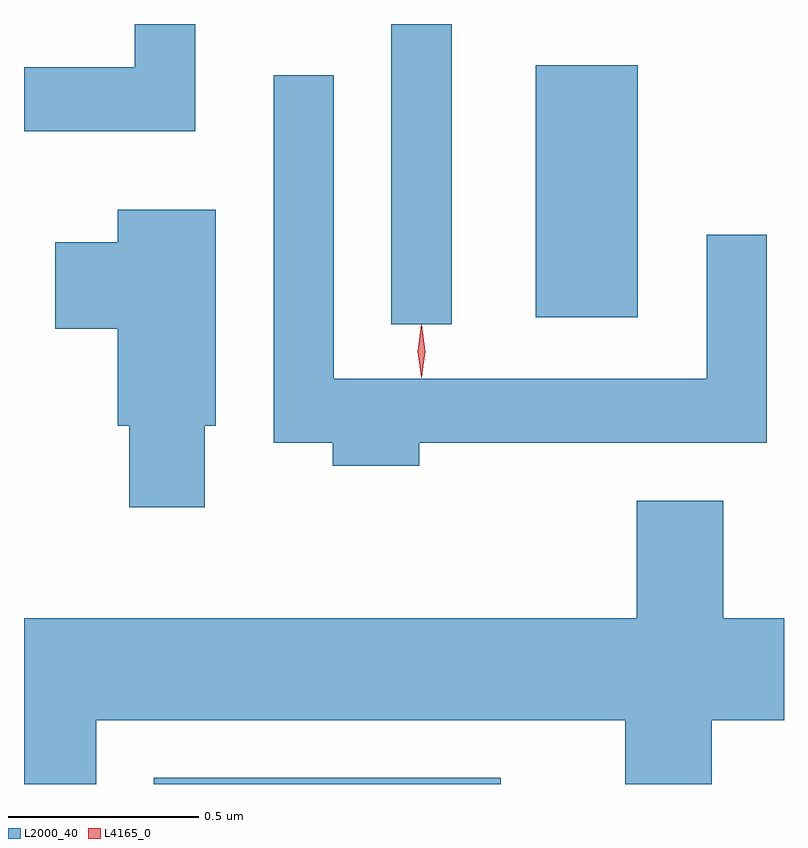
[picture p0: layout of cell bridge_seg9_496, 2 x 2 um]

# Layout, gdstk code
import gdstk
lib = gdstk.Library(unit=1e-6, precision=1e-09)
def R(c, l, rs):  # rectangles x0, y0, x1, y1
    for r in rs: c.add(gdstk.rectangle(r[:2], r[2:], *l))
def P(c, l, *ps):  # polygons
    for p in ps: c.add(gdstk.Polygon(p, *l))
L2000_40 = (2000, 40)
L4165_0 = (4165, 0)

bridge_seg9_496 = lib.new_cell('bridge_seg9_496')
R(bridge_seg9_496, L2000_40, [(620.141,1947.248,621.054,1947.264), (620.766,1948.458,620.924,1949.248), (621.146,1948.476,621.414,1949.139)])
P(bridge_seg9_496, L2000_40, [(620.249,1949.248),(620.091,1949.248),(620.091,1949.134),(619.799,1949.134),(619.799,1948.966),(620.249,1948.966)],
  [(620.839,1948.146),(621.754,1948.146),(621.754,1948.693),(621.596,1948.693),(621.596,1948.314),(620.614,1948.314),(620.614,1949.113),(620.456,1949.113),(620.456,1948.146),(620.611,1948.146),(620.611,1948.086),(620.839,1948.086)],
  [(620.274,1948.191),(620.304,1948.191),(620.304,1948.759),(620.046,1948.759),(620.046,1948.674),(619.881,1948.674),(619.881,1948.446),(620.046,1948.446),(620.046,1948.191),(620.076,1948.191),(620.076,1947.976),(620.274,1947.976)],
  [(619.989,1947.416),(621.381,1947.416),(621.381,1947.248),(621.609,1947.248),(621.609,1947.416),(621.799,1947.416),(621.799,1947.684),(621.639,1947.684),(621.639,1947.994),(621.411,1947.994),(621.411,1947.684),(619.799,1947.684),(619.799,1947.248),(619.989,1947.248)])
P(bridge_seg9_496, L4165_0, [(620.845,1948.317),(620.845,1948.318),(620.835,1948.387),(620.845,1948.456),(620.845,1948.456),(620.846,1948.456),(620.855,1948.387),(620.846,1948.318)],
  [(620.845,1948.319),(620.844,1948.32),(620.835,1948.386),(620.844,1948.452),(620.845,1948.453),(620.846,1948.452),(620.855,1948.386),(620.846,1948.32)])

lib.write_gds('bridge_seg9_496.gds')
